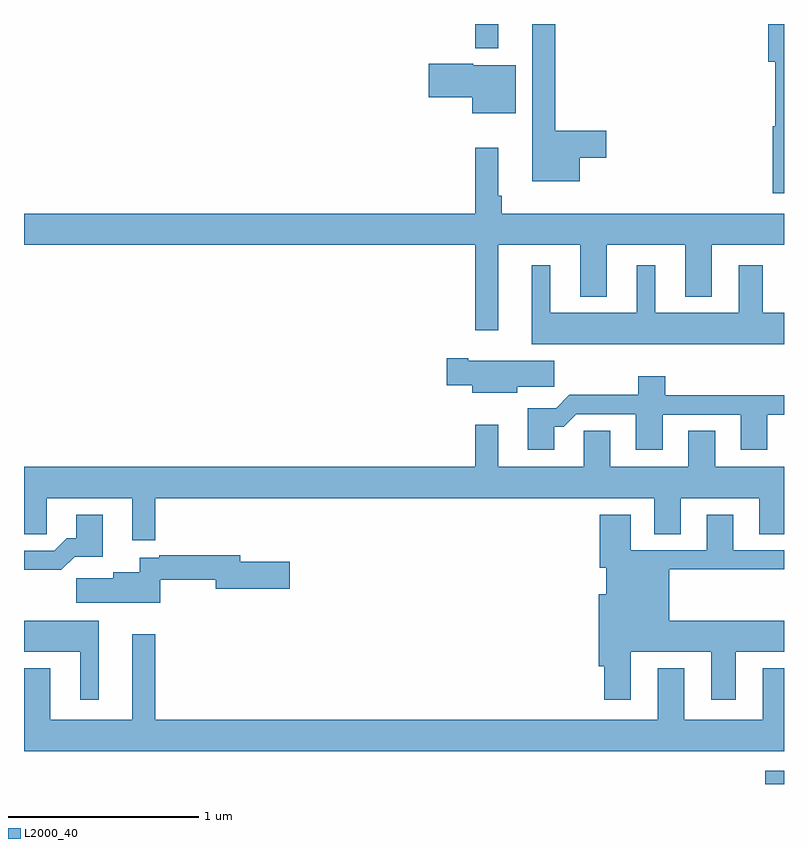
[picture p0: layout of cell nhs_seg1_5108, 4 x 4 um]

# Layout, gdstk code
import gdstk
lib = gdstk.Library(unit=1e-6, precision=1e-09)
def R(c, l, rs):  # rectangles x0, y0, x1, y1
    for r in rs: c.add(gdstk.rectangle(r[:2], r[2:], *l))
def P(c, l, *ps):  # polygons
    for p in ps: c.add(gdstk.Polygon(p, *l))
L2000_40 = (2000, 40)

nhs_seg1_5108 = lib.new_cell('nhs_seg1_5108')
R(nhs_seg1_5108, L2000_40, [(390.902,578.199,391,578.269), (389.376,582.072,389.497,582.199)])
P(nhs_seg1_5108, L2000_40, [(391,582.199),(390.917,582.199),(390.917,582),(390.953,582),(390.953,581.662),(390.941,581.662),(390.941,581.307),(391,581.307)],
  [(389.926,581.494),(390.064,581.494),(390.064,581.636),(389.797,581.636),(389.797,582.199),(389.675,582.199),(389.675,581.372),(389.926,581.372)],
  [(389.587,581.983),(389.364,581.983),(389.364,581.991),(389.13,581.991),(389.13,581.813),(389.36,581.813),(389.36,581.729),(389.587,581.729)],
  [(389.497,581.036),(389.927,581.036),(389.927,580.763),(390.067,580.763),(390.067,581.036),(390.479,581.036),(390.479,580.763),(390.619,580.763),(390.619,581.036),(391,581.036),(391,581.2),(389.515,581.2),(389.515,581.296),(389.497,581.296),(389.497,581.548),(389.376,581.548),(389.376,581.2),(387,581.2),(387,581.036),(389.376,581.036),(389.376,580.587),(389.497,580.587)],
  [(391,580.678),(390.889,580.678),(390.889,580.93),(390.761,580.93),(390.761,580.678),(390.322,580.678),(390.322,580.93),(390.224,580.93),(390.224,580.678),(389.77,580.678),(389.77,580.93),(389.672,580.93),(389.672,580.514),(391,580.514)],
  [(389.596,580.291),(389.791,580.291),(389.791,580.426),(389.338,580.426),(389.338,580.439),(389.226,580.439),(389.226,580.297),(389.36,580.297),(389.36,580.259),(389.596,580.259)],
  [(389.791,580.079),(389.84,580.079),(389.907,580.146),(390.221,580.146),(390.221,579.957),(390.361,579.957),(390.361,580.143),(390.773,580.143),(390.773,579.957),(390.913,579.957),(390.913,580.143),(391,580.143),(391,580.244),(390.374,580.244),(390.374,580.345),(390.232,580.345),(390.232,580.247),(389.87,580.247),(389.8,580.177),(389.651,580.177),(389.651,579.957),(389.791,579.957)],
  [(387.691,579.704),(390.317,579.704),(390.317,579.514),(390.457,579.514),(390.457,579.704),(390.869,579.704),(390.869,579.514),(391,579.514),(391,579.868),(390.637,579.868),(390.637,580.058),(390.497,580.058),(390.497,579.868),(390.085,579.868),(390.085,580.058),(389.946,580.058),(389.946,579.868),(389.497,579.868),(389.497,580.09),(389.376,580.09),(389.376,579.868),(387,579.868),(387,579.514),(387.12,579.514),(387.12,579.704),(387.569,579.704),(387.569,579.483),(387.691,579.483)],
  [(387.266,579.395),(387.415,579.395),(387.415,579.616),(387.275,579.616),(387.275,579.493),(387.226,579.493),(387.159,579.426),(387,579.426),(387,579.326),(387.197,579.326)],
  [(390.193,578.894),(390.617,578.894),(390.617,578.643),(390.745,578.643),(390.745,578.894),(391,578.894),(391,579.058),(390.397,579.058),(390.397,579.328),(391,579.328),(391,579.429),(390.733,579.429),(390.733,579.616),(390.593,579.616),(390.593,579.429),(390.193,579.429),(390.193,579.616),(390.029,579.616),(390.029,579.336),(390.065,579.336),(390.065,579.199),(390.026,579.199),(390.026,578.819),(390.053,578.819),(390.053,578.643),(390.193,578.643)],
  [(387.718,579.274),(388.01,579.274),(388.01,579.227),(388.399,579.227),(388.399,579.369),(388.138,579.369),(388.138,579.403),(387.712,579.403),(387.712,579.39),(387.608,579.39),(387.608,579.313),(387.47,579.313),(387.47,579.281),(387.276,579.281),(387.276,579.152),(387.718,579.152)],
  [(387.394,579.058),(387,579.058),(387,578.894),(387.296,578.894),(387.296,578.643),(387.394,578.643)],
  [(391,578.809),(390.887,578.809),(390.887,578.536),(390.475,578.536),(390.475,578.809),(390.335,578.809),(390.335,578.536),(387.691,578.536),(387.691,578.986),(387.569,578.986),(387.569,578.536),(387.139,578.536),(387.139,578.809),(387,578.809),(387,578.372),(391,578.372)])

lib.write_gds('nhs_seg1_5108.gds')
